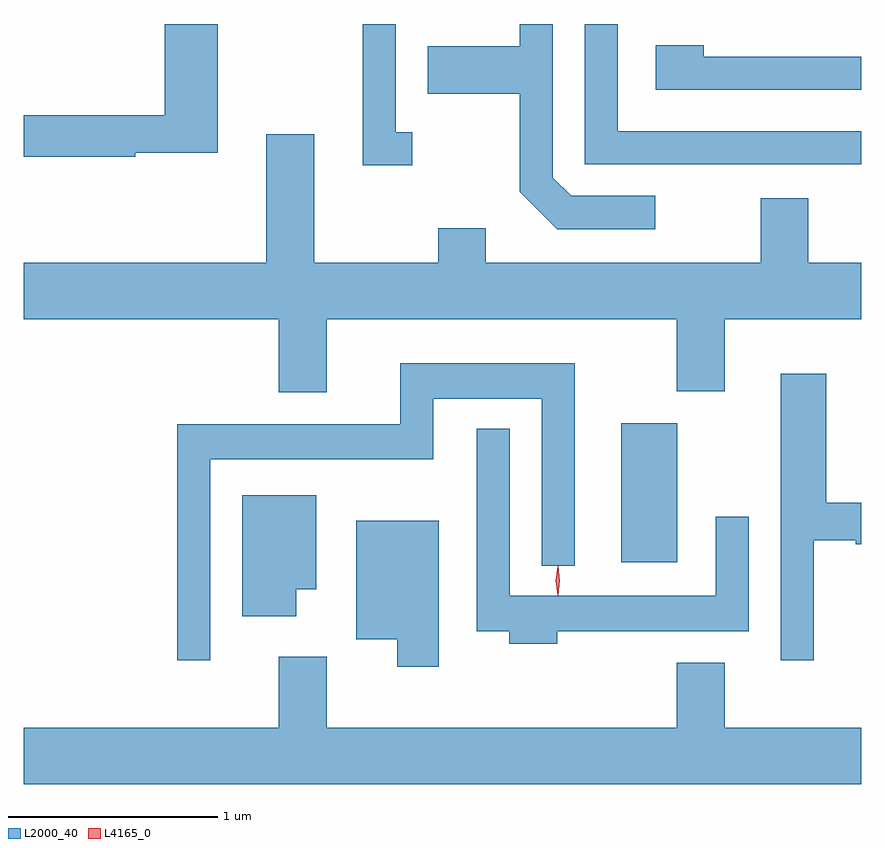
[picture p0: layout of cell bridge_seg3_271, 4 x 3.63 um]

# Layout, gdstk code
import gdstk
lib = gdstk.Library(unit=1e-6, precision=1e-09)
def R(c, l, rs):  # rectangles x0, y0, x1, y1
    for r in rs: c.add(gdstk.rectangle(r[:2], r[2:], *l))
def P(c, l, *ps):  # polygons
    for p in ps: c.add(gdstk.Polygon(p, *l))
L2000_40 = (2000, 40)
L4165_0 = (4165, 0)

bridge_seg3_271 = lib.new_cell('bridge_seg3_271')
R(bridge_seg3_271, L2000_40, [(1077.726,1149.276,1077.994,1149.939)])
P(bridge_seg3_271, L2000_40, [(1078.872,1151.334),(1077.709,1151.334),(1077.709,1151.845),(1077.551,1151.845),(1077.551,1151.176),(1078.872,1151.176)],
  [(1077.888,1151.024),(1077.487,1151.024),(1077.399,1151.112),(1077.399,1151.845),(1077.241,1151.845),(1077.241,1151.739),(1076.801,1151.739),(1076.801,1151.511),(1077.241,1151.511),(1077.241,1151.044),(1077.419,1150.866),(1077.888,1150.866)],
  [(1076.728,1151.329),(1076.649,1151.329),(1076.649,1151.845),(1076.491,1151.845),(1076.491,1151.171),(1076.728,1151.171)],
  [(1075.404,1151.231),(1075.799,1151.231),(1075.799,1151.845),(1075.546,1151.845),(1075.546,1151.409),(1074.872,1151.409),(1074.872,1151.211),(1075.404,1151.211)],
  [(1078.872,1151.689),(1078.119,1151.689),(1078.119,1151.744),(1077.891,1151.744),(1077.891,1151.531),(1078.872,1151.531)],
  [(1076.319,1150.436),(1077.991,1150.436),(1077.991,1150.091),(1078.219,1150.091),(1078.219,1150.436),(1078.872,1150.436),(1078.872,1150.704),(1078.619,1150.704),(1078.619,1151.014),(1078.391,1151.014),(1078.391,1150.704),(1077.079,1150.704),(1077.079,1150.869),(1076.851,1150.869),(1076.851,1150.704),(1076.259,1150.704),(1076.259,1151.319),(1076.031,1151.319),(1076.031,1150.704),(1074.872,1150.704),(1074.872,1150.436),(1076.091,1150.436),(1076.091,1150.086),(1076.319,1150.086)],
  [(1075.764,1149.766),(1076.829,1149.766),(1076.829,1150.056),(1077.346,1150.056),(1077.346,1149.258),(1077.504,1149.258),(1077.504,1150.224),(1076.671,1150.224),(1076.671,1149.934),(1075.606,1149.934),(1075.606,1148.808),(1075.764,1148.808)],
  [(1078.644,1149.381),(1078.846,1149.381),(1078.846,1149.361),(1078.872,1149.361),(1078.872,1149.559),(1078.704,1149.559),(1078.704,1150.174),(1078.486,1150.174),(1078.486,1148.808),(1078.644,1148.808)],
  [(1077.419,1148.946),(1078.334,1148.946),(1078.334,1149.493),(1078.176,1149.493),(1078.176,1149.114),(1077.194,1149.114),(1077.194,1149.913),(1077.036,1149.913),(1077.036,1148.946),(1077.191,1148.946),(1077.191,1148.886),(1077.419,1148.886)],
  [(1076.174,1149.146),(1076.269,1149.146),(1076.269,1149.594),(1075.916,1149.594),(1075.916,1149.016),(1076.174,1149.016)],
  [(1076.854,1149.474),(1076.461,1149.474),(1076.461,1148.906),(1076.656,1148.906),(1076.656,1148.776),(1076.854,1148.776)],
  [(1078.872,1148.484),(1078.219,1148.484),(1078.219,1148.794),(1077.991,1148.794),(1077.991,1148.484),(1076.319,1148.484),(1076.319,1148.824),(1076.091,1148.824),(1076.091,1148.484),(1074.872,1148.484),(1074.872,1148.216),(1078.872,1148.216)])
P(bridge_seg3_271, L4165_0, [(1077.423,1149.117),(1077.422,1149.118),(1077.413,1149.187),(1077.422,1149.256),(1077.423,1149.256),(1077.424,1149.256),(1077.433,1149.187),(1077.424,1149.118)],
  [(1077.422,1149.12),(1077.413,1149.186),(1077.422,1149.253),(1077.423,1149.253),(1077.424,1149.253),(1077.433,1149.186),(1077.424,1149.12),(1077.423,1149.12)])

lib.write_gds('bridge_seg3_271.gds')
